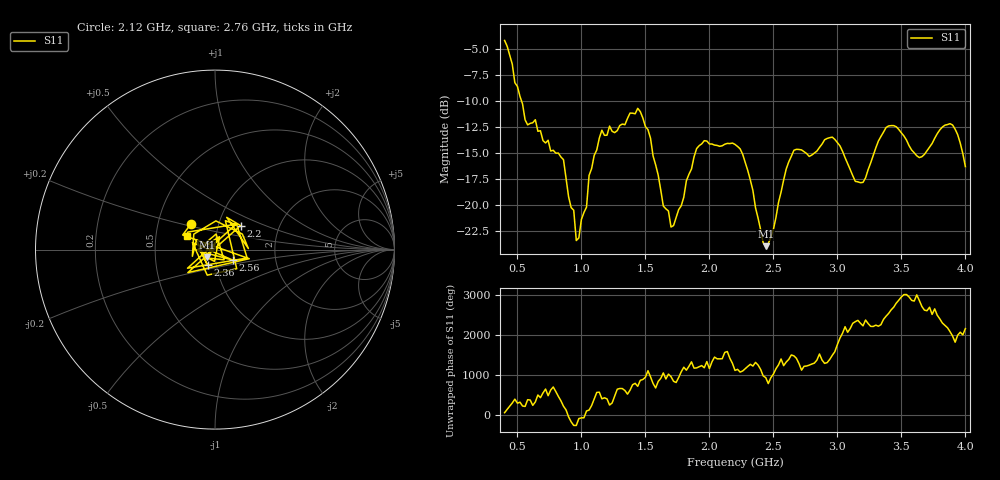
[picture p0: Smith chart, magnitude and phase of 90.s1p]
!Created with skrf (http://scikit-rf.org).
# Hz S RI R 50.0
!freq ReS11 ImS11
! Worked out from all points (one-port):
!   181 points, 400 MHz to 4 GHz, reference 50 ohm
!   lowest |S11| = -24.0 dB at 2.44 GHz (marker M1), VSWR 1.13, Z = 45.5 - j3.98 ohm
!   |S11| at or under -10 dB: 532.5 MHz to end of sweep
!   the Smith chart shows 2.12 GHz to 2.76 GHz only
!   S11 on the Smith chart (normalised r, x): 2.12 GHz: 0.73, +0.22; 2.2 GHz: 1.28, +0.36; 2.36 GHz: 0.91, -0.16; 2.56 GHz: 1.21, -0.14; 2.76 GHz: 0.72, +0.11
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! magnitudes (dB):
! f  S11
! 400 MHz  -4.2
! 560 MHz  -11.8
! 860 MHz  -15.6
! 900 MHz  -19.2
! 940 MHz  -20.5
! 960 MHz  -23.4
! 1.16 GHz  -12.8
! 1.3 GHz  -12.4
! 1.46 GHz  -11.0
! 1.7 GHz  -22.1
! 1.76 GHz  -20.5
! 1.9 GHz  -14.6
! 2.12 GHz  -14.2
! 2.2 GHz  -14.2
! 2.26 GHz  -15.1
! 2.36 GHz  -20.3
! 2.44 GHz  -24.0
! 2.56 GHz  -18.8
! 2.66 GHz  -14.7
! 2.76 GHz  -15.1
! 2.96 GHz  -13.5
! 3.1 GHz  -16.6
! 3.2 GHz  -17.8
! 3.4 GHz  -12.4
! 3.56 GHz  -14.3
! 3.66 GHz  -15.4
! 3.88 GHz  -12.2
! 4 GHz  -16.3
